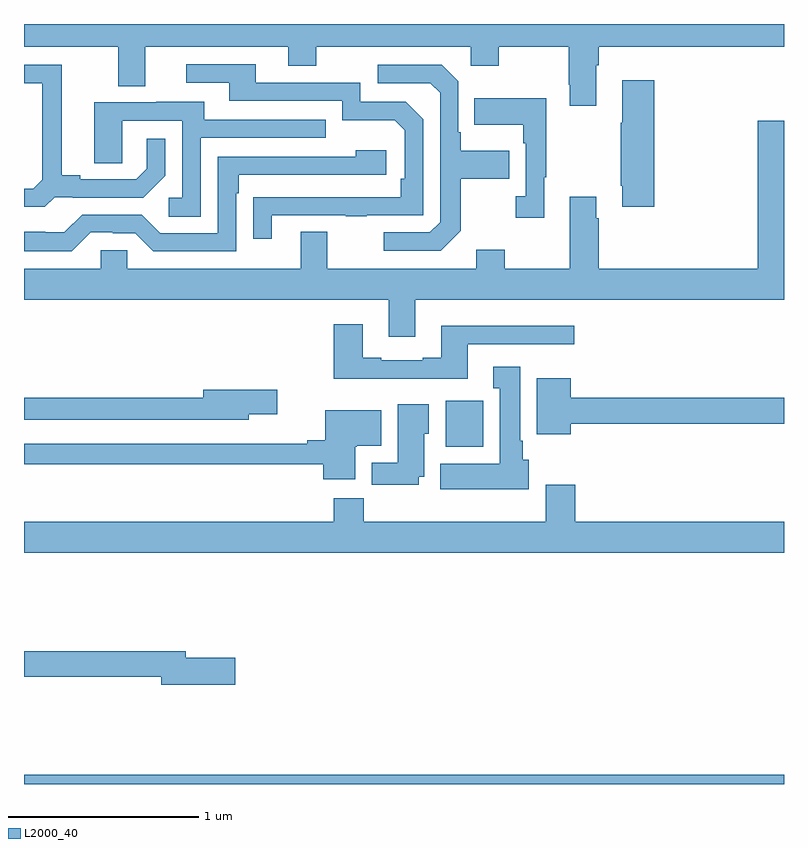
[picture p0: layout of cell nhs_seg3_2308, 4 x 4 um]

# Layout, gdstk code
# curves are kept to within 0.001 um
import gdstk
lib = gdstk.Library(unit=1e-6, precision=1e-09)
def R(c, l, rs):  # rectangles x0, y0, x1, y1
    for r in rs: c.add(gdstk.rectangle(r[:2], r[2:], *l))
def P(c, l, *ps):  # polygons
    for p in ps: c.add(gdstk.Polygon(p, *l))
L2000_40 = (2000, 40)

nhs_seg3_2308 = lib.new_cell('nhs_seg3_2308')
R(nhs_seg3_2308, L2000_40, [(231,666.4,235,666.448), (233.219,668.174,233.416,668.416)])
P(nhs_seg3_2308, L2000_40, [(234.013,670.184),(234.026,670.184),(234.026,670.28),(235,670.28),(235,670.4),(231,670.4),(231,670.28),(231.497,670.28),(231.497,670.072),(231.637,670.072),(231.637,670.28),(232.391,670.28),(232.391,670.181),(232.539,670.181),(232.539,670.28),(233.352,670.28),(233.352,670.181),(233.499,670.181),(233.499,670.28),(233.866,670.28),(233.866,670.081),(233.873,670.081),(233.873,669.969),(234.013,669.969)],
  [(232.303,669.393),(232.693,669.393),(232.693,669.388),(232.805,669.388),(232.805,669.393),(233.1,669.393),(233.1,669.9),(233.01,669.99),(232.77,669.99),(232.77,670.092),(232.219,670.092),(232.219,670.188),(231.855,670.188),(231.855,670.092),(232.079,670.092),(232.079,669.996),(232.674,669.996),(232.674,669.893),(232.951,669.893),(233.004,669.84),(233.004,669.586),(232.984,669.586),(232.984,669.489),(232.207,669.488),(232.207,669.27),(232.303,669.27)],
  [(231.162,669.489),(231.256,669.489),(231.256,669.486),(231.628,669.486),(231.744,669.602),(231.744,669.796),(231.647,669.796),(231.647,669.639),(231.59,669.582),(231.295,669.582),(231.295,669.605),(231.199,669.605),(231.199,670.185),(231,670.185),(231,670.089),(231.095,670.089),(231.095,669.581),(231.048,669.534),(231,669.534),(231,669.437),(231.11,669.437)],
  [(233.299,669.313),(233.299,669.586),(233.555,669.586),(233.555,669.733),(233.299,669.733),(233.299,669.829),(233.286,669.829),(233.286,670.098),(233.199,670.185),(232.863,670.185),(232.863,670.089),(233.139,670.089),(233.19,670.038),(233.19,669.357),(233.136,669.303),(232.893,669.303),(232.893,669.207),(233.193,669.207)],
  [(234.317,670.105),(234.149,670.105),(234.149,669.881),(234.142,669.881),(234.142,669.55),(234.149,669.55),(234.149,669.438),(234.317,669.438)],
  [(233.737,669.593),(233.749,669.593),(233.749,670.009),(233.371,670.009),(233.371,669.869),(233.628,669.869),(233.628,669.773),(233.64,669.773),(233.64,669.494),(233.589,669.494),(233.589,669.381),(233.737,669.381)],
  [(231.93,669.801),(232.589,669.801),(232.589,669.897),(231.949,669.897),(231.949,669.991),(231.695,669.991),(231.695,669.987),(231.371,669.987),(231.371,669.667),(231.516,669.667),(231.516,669.891),(231.834,669.891),(231.834,669.486),(231.762,669.486),(231.762,669.385),(231.93,669.385)],
  [(233.059,668.948),(235,668.948),(235,669.892),(234.863,669.892),(234.863,669.112),(234.026,669.112),(234.026,669.377),(234.013,669.377),(234.013,669.49),(233.873,669.49),(233.873,669.112),(233.529,669.112),(233.529,669.211),(233.381,669.211),(233.381,669.112),(232.597,669.112),(232.597,669.307),(232.457,669.307),(232.457,669.112),(231.543,669.112),(231.543,669.21),(231.405,669.21),(231.405,669.112),(231,669.112),(231,668.948),(232.919,668.948),(232.919,668.754),(233.059,668.754)],
  [(231.351,669.303),(231.467,669.303),(231.467,669.3),(231.585,669.3),(231.681,669.204),(232.116,669.204),(232.116,669.509),(232.129,669.509),(232.129,669.606),(232.906,669.606),(232.906,669.736),(232.745,669.736),(232.745,669.702),(232.02,669.702),(232.02,669.3),(231.717,669.3),(231.621,669.396),(231.306,669.396),(231.213,669.303),(231.113,669.303),(231.113,669.307),(231,669.307),(231,669.203),(231.251,669.203)],
  [(233.335,668.715),(233.896,668.715),(233.896,668.812),(233.195,668.812),(233.195,668.644),(233.099,668.644),(233.099,668.631),(232.879,668.631),(232.879,668.644),(232.783,668.644),(232.783,668.821),(232.631,668.821),(232.631,668.534),(233.335,668.534)],
  [(233.656,668.106),(233.626,668.106),(233.626,668.206),(233.611,668.206),(233.611,668.596),(233.471,668.596),(233.471,668.483),(233.504,668.483),(233.504,668.086),(233.192,668.086),(233.192,667.952),(233.656,667.952)],
  [(233.878,668.296),(235,668.296),(235,668.432),(233.878,668.432),(233.878,668.536),(233.699,668.536),(233.699,668.24),(233.878,668.24)],
  [(232.183,668.345),(232.333,668.345),(232.333,668.475),(231.944,668.475),(231.944,668.432),(231,668.432),(231,668.316),(232.183,668.316)],
  [(233.077,668.018),(233.107,668.018),(233.107,668.244),(233.131,668.244),(233.131,668.398),(232.967,668.398),(232.967,668.092),(232.829,668.092),(232.829,667.974),(233.077,667.974)],
  [(232.744,668.174),(232.75,668.174),(232.75,668.18),(232.879,668.18),(232.879,668.368),(232.586,668.368),(232.586,668.21),(232.49,668.21),(232.49,668.19),(231,668.19),(231,668.082),(232.574,668.082),(232.574,668.004),(232.744,668.004)],
  [(235,667.78),(233.9,667.78),(233.9,667.975),(233.747,667.975),(233.747,667.78),(232.787,667.78),(232.787,667.904),(232.631,667.904),(232.631,667.78),(231,667.78),(231,667.616),(235,667.616)],
  [(232.111,667.064),(231.85,667.064),(231.85,667.1),(231,667.1),(231,666.964),(231.722,666.964),(231.722,666.922),(232.111,666.922)])

lib.write_gds('nhs_seg3_2308.gds')
